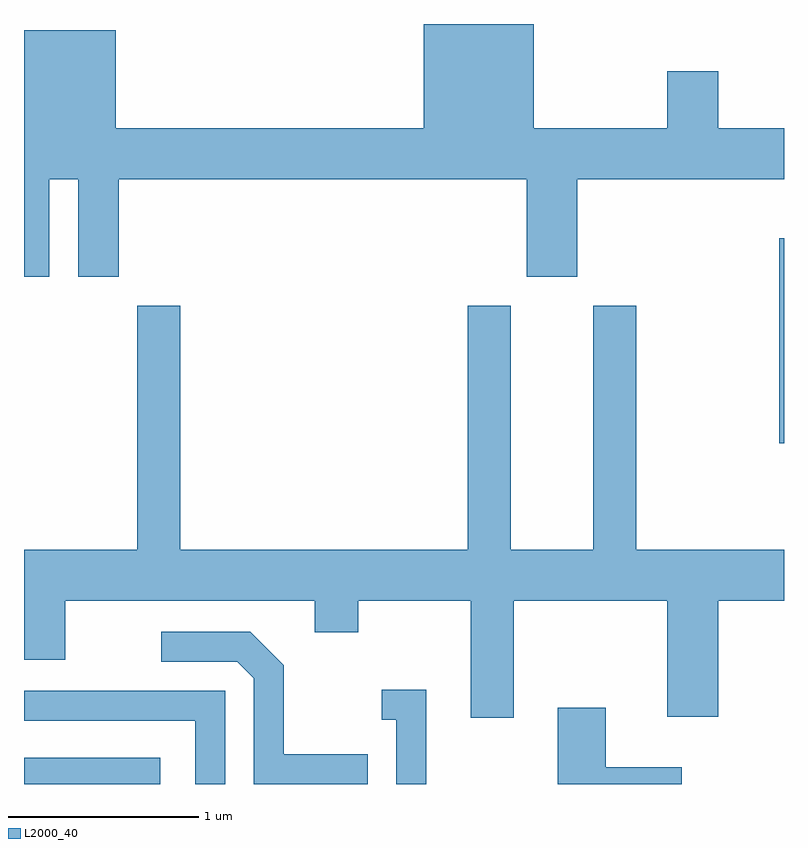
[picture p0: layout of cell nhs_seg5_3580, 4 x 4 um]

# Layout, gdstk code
import gdstk
lib = gdstk.Library(unit=1e-6, precision=1e-09)
def R(c, l, rs):  # rectangles x0, y0, x1, y1
    for r in rs: c.add(gdstk.rectangle(r[:2], r[2:], *l))
def P(c, l, *ps):  # polygons
    for p in ps: c.add(gdstk.Polygon(p, *l))
L2000_40 = (2000, 40)

nhs_seg5_3580 = lib.new_cell('nhs_seg5_3580')
R(nhs_seg5_3580, L2000_40, [(291.611,1438.072,292.329,1438.209), (295.586,1439.866,295.611,1440.944)])
P(nhs_seg5_3580, L2000_40, [(291.744,1441.256),(291.896,1441.256),(291.896,1440.741),(292.109,1440.741),(292.109,1441.256),(294.256,1441.256),(294.256,1440.741),(294.524,1440.741),(294.524,1441.256),(295.611,1441.256),(295.611,1441.524),(295.264,1441.524),(295.264,1441.824),(294.996,1441.824),(294.996,1441.524),(294.294,1441.524),(294.294,1442.072),(293.716,1442.072),(293.716,1441.524),(292.094,1441.524),(292.094,1442.039),(291.611,1442.039),(291.611,1440.741),(291.744,1440.741)],
  [(293.946,1440.589),(293.946,1439.304),(292.434,1439.304),(292.434,1440.589),(292.206,1440.589),(292.206,1439.304),(291.611,1439.304),(291.611,1438.726),(291.829,1438.726),(291.829,1439.036),(293.141,1439.036),(293.141,1438.871),(293.369,1438.871),(293.369,1439.036),(293.961,1439.036),(293.961,1438.421),(294.189,1438.421),(294.189,1439.036),(294.996,1439.036),(294.996,1438.426),(295.264,1438.426),(295.264,1439.036),(295.611,1439.036),(295.611,1439.304),(294.834,1439.304),(294.834,1440.589),(294.606,1440.589),(294.606,1439.304),(294.174,1439.304),(294.174,1440.589)],
  [(293.419,1438.229),(292.979,1438.229),(292.979,1438.697),(292.802,1438.874),(292.333,1438.874),(292.333,1438.716),(292.734,1438.716),(292.821,1438.629),(292.821,1438.072),(293.419,1438.072)],
  [(293.729,1438.569),(293.493,1438.569),(293.493,1438.411),(293.571,1438.411),(293.571,1438.072),(293.729,1438.072)],
  [(292.669,1438.564),(291.611,1438.564),(291.611,1438.406),(292.511,1438.406),(292.511,1438.072),(292.669,1438.072)],
  [(295.074,1438.159),(294.674,1438.159),(294.674,1438.474),(294.421,1438.474),(294.421,1438.072),(295.074,1438.072)])

lib.write_gds('nhs_seg5_3580.gds')
